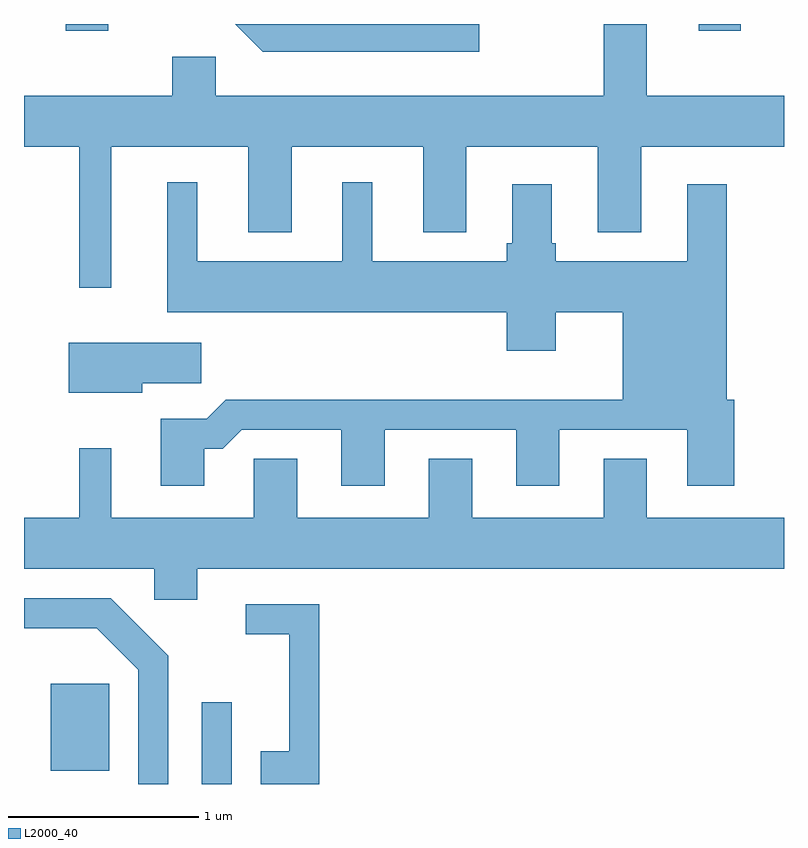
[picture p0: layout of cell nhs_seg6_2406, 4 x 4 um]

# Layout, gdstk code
import gdstk
lib = gdstk.Library(unit=1e-6, precision=1e-09)
def R(c, l, rs):  # rectangles x0, y0, x1, y1
    for r in rs: c.add(gdstk.rectangle(r[:2], r[2:], *l))
def P(c, l, *ps):  # polygons
    for p in ps: c.add(gdstk.Polygon(p, *l))
L2000_40 = (2000, 40)

nhs_seg6_2406 = lib.new_cell('nhs_seg6_2406')
R(nhs_seg6_2406, L2000_40, [(258.546,1622.162,258.704,1622.593), (257.751,1622.231,258.059,1622.689), (257.831,1626.126,258.054,1626.162), (261.161,1626.126,261.384,1626.162)])
P(nhs_seg6_2406, L2000_40, [(258.069,1625.516),(258.791,1625.516),(258.791,1625.066),(259.019,1625.066),(259.019,1625.516),(259.711,1625.516),(259.711,1625.066),(259.939,1625.066),(259.939,1625.516),(260.631,1625.516),(260.631,1625.066),(260.859,1625.066),(260.859,1625.516),(261.611,1625.516),(261.611,1625.784),(260.889,1625.784),(260.889,1626.162),(260.661,1626.162),(260.661,1625.784),(258.619,1625.784),(258.619,1625.989),(258.391,1625.989),(258.391,1625.784),(257.611,1625.784),(257.611,1625.516),(257.901,1625.516),(257.901,1624.773),(258.069,1624.773)],
  [(260.008,1626.162),(258.723,1626.162),(258.868,1626.016),(260.008,1626.016)],
  [(258.559,1623.926),(258.657,1623.926),(258.757,1624.026),(259.281,1624.026),(259.281,1623.731),(259.509,1623.731),(259.509,1624.026),(260.201,1624.026),(260.201,1623.731),(260.429,1623.731),(260.429,1624.026),(261.101,1624.026),(261.101,1623.731),(261.349,1623.731),(261.349,1624.184),(261.309,1624.184),(261.309,1625.319),(261.101,1625.319),(261.101,1624.914),(260.409,1624.914),(260.409,1625.009),(260.389,1625.009),(260.389,1625.319),(260.181,1625.319),(260.181,1625.009),(260.151,1625.009),(260.151,1624.914),(259.444,1624.914),(259.444,1625.328),(259.286,1625.328),(259.286,1624.914),(258.524,1624.914),(258.524,1625.328),(258.366,1625.328),(258.366,1624.646),(260.151,1624.646),(260.151,1624.441),(260.409,1624.441),(260.409,1624.646),(260.761,1624.646),(260.761,1624.184),(258.674,1624.184),(258.574,1624.084),(258.331,1624.084),(258.331,1623.731),(258.559,1623.731)],
  [(258.234,1624.271),(258.544,1624.271),(258.544,1624.484),(257.846,1624.484),(257.846,1624.221),(258.234,1624.221)],
  [(258.524,1623.296),(261.611,1623.296),(261.611,1623.564),(260.889,1623.564),(260.889,1623.874),(260.661,1623.874),(260.661,1623.564),(259.969,1623.564),(259.969,1623.874),(259.741,1623.874),(259.741,1623.564),(259.049,1623.564),(259.049,1623.874),(258.821,1623.874),(258.821,1623.564),(258.069,1623.564),(258.069,1623.928),(257.901,1623.928),(257.901,1623.564),(257.611,1623.564),(257.611,1623.296),(258.296,1623.296),(258.296,1623.131),(258.524,1623.131)],
  [(258.369,1622.837),(258.067,1623.139),(257.611,1623.139),(257.611,1622.981),(257.993,1622.981),(258.211,1622.764),(258.211,1622.162),(258.369,1622.162)],
  [(259.164,1623.109),(258.778,1623.109),(258.778,1622.951),(259.006,1622.951),(259.006,1622.334),(258.856,1622.334),(258.856,1622.162),(259.164,1622.162)])

lib.write_gds('nhs_seg6_2406.gds')
